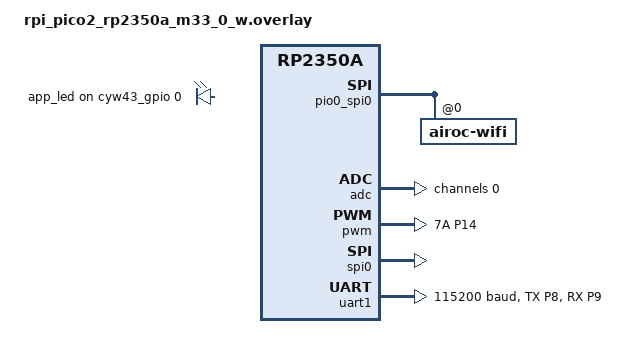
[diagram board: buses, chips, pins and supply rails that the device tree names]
/* Standalone firmware in the first 3 MiB of the Pico 2 W's 4 MiB flash. */
#ifndef FC_PICO2_OTA_SLOTS
&code_partition {
	reg = <0x0 0x00300000>;
};
#endif

/* WL_GPIO0 lives on the Wi-Fi chip. The upstream MCUboot board DTS
 * omits its GPIO child; the standalone board already declares it. */
&pio0_spi0 {
	airoc-wifi@0 {
		cyw43_gpio: gpio {
			compatible = "infineon,cyw43-gpio";
			gpio-controller;
			#gpio-cells = <2>;
			ngpios = <3>;
		};
	};
};

&pinctrl {
	app_uart1: app_uart1 {
		group1 { pinmux = <UART1_TX_P8>; };
		group2 { pinmux = <UART1_RX_P9>; input-enable; };
	};
	app_pwm: app_pwm {
		group1 { pinmux = <PWM_7A_P14>; };
	};
};

/* The wireless board reserves GP25 and GP29 for its PIO Wi-Fi bus. */
&adc_default {
	group1 { pinmux = <ADC_CH0_P26>; };
};
&adc {
	#address-cells = <1>;
	#size-cells = <0>;
	channel@0 {
		reg = <0>;
		zephyr,gain = "ADC_GAIN_1";
		zephyr,reference = "ADC_REF_INTERNAL";
		zephyr,acquisition-time = <ADC_ACQ_TIME_DEFAULT>;
		zephyr,resolution = <12>;
	};
};
&pwm {
	pinctrl-0 = <&app_pwm>;
	status = "okay";
};
&spi0_default {
	group1 { pinmux = <SPI0_SCK_P18>, <SPI0_TX_P19>; };
};
&spi0 { status = "okay"; };
&i2c1 { status = "disabled"; };
&uart1 {
	pinctrl-0 = <&app_uart1>;
	pinctrl-names = "default";
	current-speed = <115200>;
	status = "okay";
};

&flash0 {
	partitions {
		fc_creds_partition: partition@300000 {
			compatible = "zephyr,mapped-partition";
			label = "fc_creds";
			reg = <0x00300000 0x00004000>;
		};
		fc_storage_partition: partition@304000 {
			compatible = "zephyr,mapped-partition";
			label = "fc_storage";
			reg = <0x00304000 0x000fc000>;
		};
	};
};

/ {
	aliases { led0 = &app_led; };
	leds {
		compatible = "gpio-leds";
		app_led: led-0 { gpios = <&cyw43_gpio 0 GPIO_ACTIVE_HIGH>; };
	};
	fc-hw {
		compatible = "flightctl,app-hw";
		gpio6 { gpios = <&gpio0 6 GPIO_ACTIVE_HIGH>; };
		adc0 { io-channels = <&adc 0>; };
		pwm0 { pwms = <&pwm 14 PWM_MSEC(1) PWM_POLARITY_NORMAL>; };
		i2c0 { i2c-bus = <&i2c0>; clock-frequency = <100000>; };
		spi0 { spi-bus = <&spi0>; cs-gpios = <&gpio0 17 GPIO_ACTIVE_LOW>; };
		uart1 { uart = <&uart1>; current-speed = <115200>; };
		core-temperature {
			temperature-sensor = <&die_temp>;
			die-temperature;
		};
	};
};
